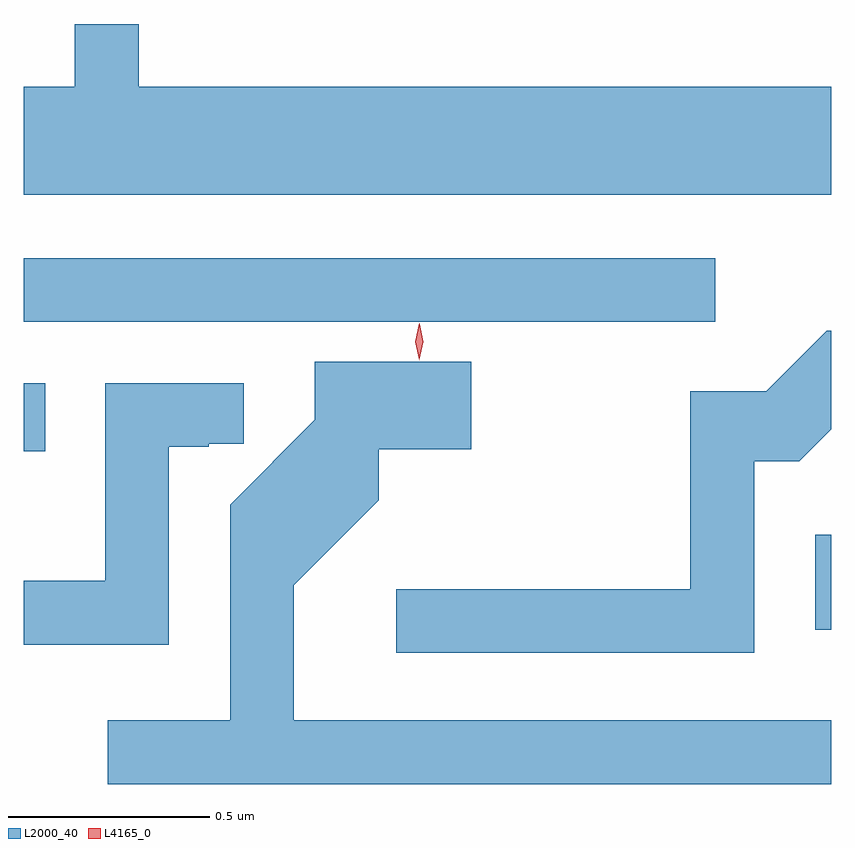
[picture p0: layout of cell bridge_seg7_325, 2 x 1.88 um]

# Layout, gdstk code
import gdstk
lib = gdstk.Library(unit=1e-6, precision=1e-09)
def R(c, l, rs):  # rectangles x0, y0, x1, y1
    for r in rs: c.add(gdstk.rectangle(r[:2], r[2:], *l))
def P(c, l, *ps):  # polygons
    for p in ps: c.add(gdstk.Polygon(p, *l))
L2000_40 = (2000, 40)
L4165_0 = (4165, 0)

bridge_seg7_325 = lib.new_cell('bridge_seg7_325')
R(bridge_seg7_325, L2000_40, [(1109.161,1764.298,1109.2,1764.534), (1107.2,1764.741,1107.253,1764.909), (1107.2,1765.061,1108.913,1765.219)])
P(bridge_seg7_325, L2000_40, [(1109.2,1765.644),(1107.484,1765.644),(1107.484,1765.799),(1107.326,1765.799),(1107.326,1765.644),(1107.2,1765.644),(1107.2,1765.376),(1109.2,1765.376)],
  [(1109.009,1764.716),(1109.121,1764.716),(1109.2,1764.795),(1109.2,1765.039),(1109.189,1765.039),(1109.039,1764.889),(1108.851,1764.889),(1108.851,1764.399),(1108.123,1764.399),(1108.123,1764.241),(1109.009,1764.241)],
  [(1109.2,1764.074),(1107.869,1764.074),(1107.869,1764.409),(1108.079,1764.619),(1108.079,1764.746),(1108.309,1764.746),(1108.309,1764.962),(1107.921,1764.962),(1107.921,1764.818),(1107.711,1764.608),(1107.711,1764.074),(1107.408,1764.074),(1107.408,1763.916),(1109.2,1763.916)],
  [(1107.559,1764.751),(1107.658,1764.751),(1107.658,1764.759),(1107.745,1764.759),(1107.745,1764.909),(1107.401,1764.909),(1107.401,1764.419),(1107.2,1764.419),(1107.2,1764.261),(1107.559,1764.261)])
P(bridge_seg7_325, L4165_0, [(1108.18,1764.968),(1108.179,1764.969),(1108.17,1765.012),(1108.18,1765.055),(1108.181,1765.056),(1108.181,1765.055),(1108.19,1765.012),(1108.18,1764.969)],
  [(1108.18,1764.966),(1108.179,1764.967),(1108.17,1765.012),(1108.179,1765.058),(1108.18,1765.058),(1108.18,1765.058),(1108.19,1765.012),(1108.18,1764.967)])

lib.write_gds('bridge_seg7_325.gds')
